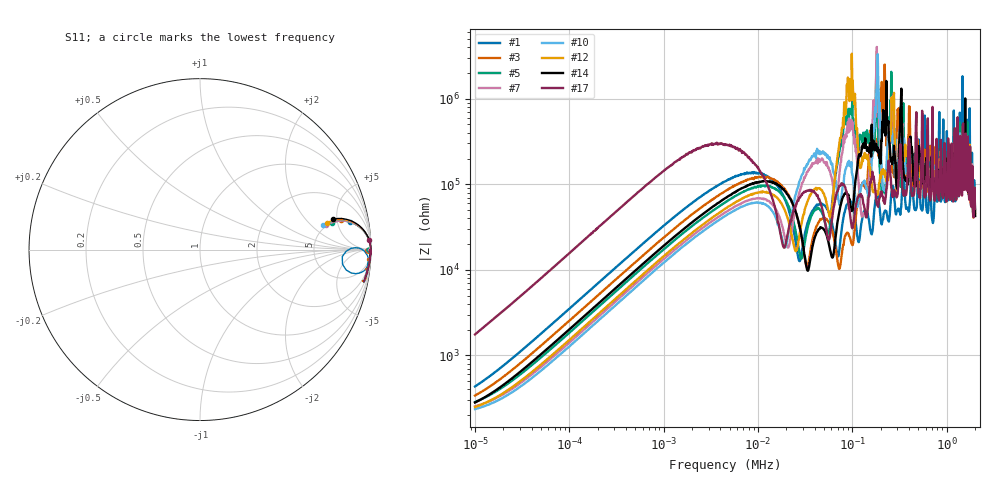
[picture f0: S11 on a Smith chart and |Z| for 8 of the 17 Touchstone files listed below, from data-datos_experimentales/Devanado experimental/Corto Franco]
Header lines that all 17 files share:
!Agilent Technologies,E5061B,MY49204007,A.02.12
!Data & Calibration Information:
!Freq	S11:SOLT2(ON)	S21:SOLT2(ON)	S12:SOLT2(ON)	S22:SOLT2(ON)
# Hz S dB R 50
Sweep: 10 Hz to 2 MHz
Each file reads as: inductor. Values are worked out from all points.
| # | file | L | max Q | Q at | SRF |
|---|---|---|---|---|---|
| 1 | 23072501.S2P | 5.83 H | 27.8 | 13.41 kHz | 27.44 kHz |
| 2 | 23072502.S2P | 4.92 H | 44 | 15.35 kHz | 30.53 kHz |
| 3 | 23072503.S2P | 4.14 H | 29.5 | 16.86 kHz | 33.02 kHz |
| 4 | 23072504.S2P | 3.48 H | 23.5 | 16.19 kHz | 32.6 kHz |
| 5 | 23072505.S2P | 2.95 H | 22.5 | 15.51 kHz | 28.67 kHz |
| 6 | 23072506.S2P | 2.53 H | 21.8 | 13.73 kHz | 24.35 kHz |
| 7 | 23072507.S2P | 2.23 H | 25.2 | 12.27 kHz | 21.11 kHz |
| 8 | 23072508.S2P | 2.05 H | 19.4 | 11.06 kHz | 19.32 kHz |
| 9 | 23072509.S2P | 1.97 H | 21.7 | 11.06 kHz | 18.87 kHz |
| 10 | 23072510.S2P | 2.02 H | 20.3 | 11.18 kHz | 19.54 kHz |
| 11 | 23072511.S2P | 2.17 H | 24.7 | 12.27 kHz | 21.78 kHz |
| 12 | 23072512.S2P | 2.42 H | 34.2 | 14.06 kHz | 25.27 kHz |
| 13 | 23072513.S2P | 2.78 H | 27 | 15.19 kHz | 30.22 kHz |
| 14 | 23072514.S2P | 3.25 H | 40.4 | 16.19 kHz | 33.45 kHz |
| 15 | 23072515.S2P | 3.84 H | 27.8 | 15.67 kHz | 32.17 kHz |
| 16 | 23072516.S2P | 4.53 H | 42.9 | 14.87 kHz | 29.6 kHz |
| 17 | 23072517.S2P | 27.2 H | 29.5 | 8.313 kHz | 18.87 kHz |
